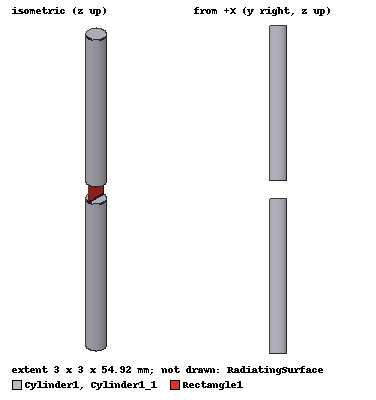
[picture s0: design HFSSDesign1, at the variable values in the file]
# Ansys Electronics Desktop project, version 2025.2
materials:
  vacuum: permittivity=1
  aluminum: permeability=1.000021 conductivity=38000000

design HFSSDesign1 (HFSS, HFSS Terminal Network, model units mm)
options: open_region{BoundaryType=0 OpFreq=2.4GHz}
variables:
  H = 25.96mm
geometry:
  RadiatingSurface [vacuum] = region(absolute_offset=41.666667mm on all sides)
  Cylinder1 [aluminum] = cylinder(axis=Z, base_centre=(0mm, 0mm, 1.5mm), radius=1.5mm, height=H)
  Cylinder1_1 [aluminum] = Cylinder1.duplicate_mirror(point=(0mm, 0mm, 0mm), normal=(0mm, 0mm, -1mm))
  Rectangle1 = rectangle(corner=(-1.5mm, 0mm, 1.5mm), z_size=-3mm, x_size=3mm)
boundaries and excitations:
  AutoOpen1: Radiation Objects=RadiatingSurface
  Rectangle1_T1: Terminal port=1 Edges=Rectangle1.edge(at (0, 0, 1.5)) TerminalResistance=50ohm
  1: Lumped Port Faces=Rectangle1.face LumpedPortType=Terminal Impedance=50ohm
  reference conductors: Cylinder1_1
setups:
  Auto1: HfssDriven Frequency=2.4GHz MaxDeltaS=0.02 MaximumPasses=6 MinimumPasses=1 MinimumConvergedPasses=1 PercentRefinement=30 BasisOrder=1 PortAccuracy=2 DrivenSolverType="Direct Solver" VariablesForDerivatives(H) VariableFlagsForDerivatives(1)
    sweep Sweep: 1GHz to 5GHz, 401 points; Type=Interpolating InterpTolerance=0.5 InterpMaxSolns=250 PassivityErrorTolerance=0.0001
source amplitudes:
  1:1: 1V 0deg
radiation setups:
  3D: Infinite Sphere Theta=0deg..180deg step 2deg Phi=-180deg..180deg step 2deg
  Elevation: Infinite Sphere Theta=-180deg..180deg step 1deg Phi=0deg..90deg step 90deg
  Azimuth: Infinite Sphere Theta=90deg..90deg step 0deg Phi=-180deg..180deg step 1deg
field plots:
  Mag_E1: E Field over a plane on Auto1 : LastAdaptive at Freq=2.4GHz Phase=0deg
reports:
  Tune Terminal S Parameter Plot1: dB(TuneSt(Rectangle1_T1,Rectangle1_T1,H)) vs Freq on Auto1 : Sweep [H=31.25mm]
  Gain Plot1: dB(GainTotal) vs Theta on Auto1 : LastAdaptive, Elevation [Phi=0deg Freq=2.4GHz H=23.6mm]
  Gain Plot2: dB(GainTotal) vs Phi, Theta on Auto1 : LastAdaptive, 3D [Freq=2.4GHz H=23.6mm]
